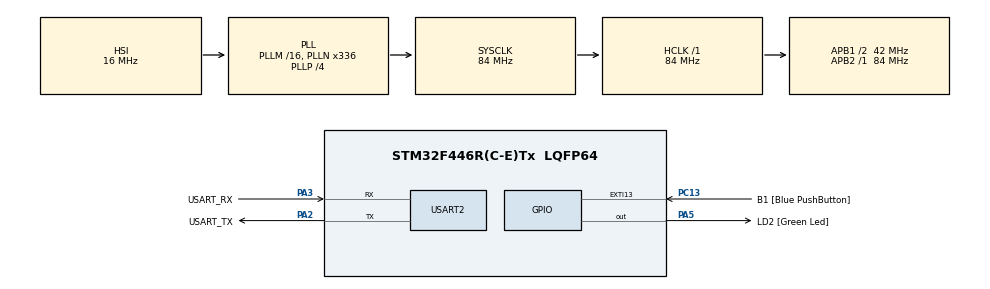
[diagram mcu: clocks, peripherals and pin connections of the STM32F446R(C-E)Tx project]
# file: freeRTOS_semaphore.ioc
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FREERTOS.BinarySemaphores01=BinSem,Dynamic,NULL
FREERTOS.INCLUDE_vTaskDelayUntil=1
FREERTOS.Tasks01=defaultTask,0,128,StartDefaultTask,Default,NULL,Dynamic,NULL,NULL;task2,1,128,task2_init,Default,NULL,Dynamic,NULL,NULL;task3,-1,128,task3_init,Default,NULL,Dynamic,NULL,NULL
Mcu.Family=STM32F4
Mcu.Name=STM32F446R(C-E)Tx
Mcu.Package=LQFP64
NVIC.PriorityGroup=NVIC_PRIORITYGROUP_4
NVIC.TIM1_UP_TIM10_IRQn=true\:15\:0\:false\:false\:true\:false\:false\:true\:true
NVIC.TimeBase=TIM1_UP_TIM10_IRQn
NVIC.TimeBaseIP=TIM1
PA13.GPIO_Label=TMS
PA13.Mode=Serial_Wire
PA13.Signal=SYS_JTMS-SWDIO
PA14.GPIO_Label=TCK
PA14.Mode=Serial_Wire
PA14.Signal=SYS_JTCK-SWCLK
PA2.GPIO_Label=USART_TX
PA2.Mode=Asynchronous
PA2.Signal=USART2_TX
PA3.GPIO_Label=USART_RX
PA3.Mode=Asynchronous
PA3.Signal=USART2_RX
PA5.GPIO_Label=LD2 [Green Led]
PA5.Signal=GPIO_Output
PB3.GPIO_Label=SWO
PB3.Signal=SYS_JTDO-SWO
PC13.GPIO_Label=B1 [Blue PushButton]
PC13.GPIO_ModeDefaultEXTI=GPIO_MODE_IT_FALLING
PC13.Signal=GPXTI13
PC14-OSC32_IN.Mode=LSE-External-Oscillator
PC14-OSC32_IN.Signal=RCC_OSC32_IN
PC15-OSC32_OUT.Mode=LSE-External-Oscillator
PC15-OSC32_OUT.Signal=RCC_OSC32_OUT
PH0-OSC_IN.Mode=HSE-External-Oscillator
PH0-OSC_IN.Signal=RCC_OSC_IN
PH1-OSC_OUT.Mode=HSE-External-Oscillator
PH1-OSC_OUT.Signal=RCC_OSC_OUT
ProjectManager.HeapSize=0x200
ProjectManager.StackSize=0x400
ProjectManager.TargetToolchain=STM32CubeIDE
RCC.48MHZClocksFreq_Value=84000000
RCC.AHBFreq_Value=84000000
RCC.APB1CLKDivider=RCC_HCLK_DIV2
RCC.APB1Freq_Value=42000000
RCC.APB1TimFreq_Value=84000000
RCC.APB2Freq_Value=84000000
RCC.APB2TimFreq_Value=84000000
RCC.CortexFreq_Value=84000000
RCC.FLatency-AdvancedSettings=FLASH_LATENCY_2
RCC.HCLKFreq_Value=84000000
RCC.HSE_VALUE=8000000
RCC.HSI_VALUE=16000000
RCC.PLLN=336
RCC.PLLP=RCC_PLLP_DIV4
RCC.SYSCLKFreq_VALUE=84000000
RCC.SYSCLKSource=RCC_SYSCLKSOURCE_PLLCLK
RCC.USBFreq_Value=168000000
RCC.VCOOutputFreq_Value=336000000
USART2.VirtualMode=VM_ASYNC
VP_FREERTOS_VS_CMSIS_V1.Mode=CMSIS_V1
VP_SYS_VS_tim1.Mode=TIM1
board=NUCLEO-F446RE

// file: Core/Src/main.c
/* USER CODE BEGIN Header */
/**
 ******************************************************************************
 * @file           : main.c
 * @brief          : Main program body
 ******************************************************************************
 * @attention
 *
 * Copyright (c) 2023 STMicroelectronics.
 * All rights reserved.
 *
 * This software is licensed under terms that can be found in the LICENSE file
 * in the root directory of this software component.
 * If no LICENSE file comes with this software, it is provided AS-IS.
 *
 ******************************************************************************
 */
/* USER CODE END Header */
#include "main.h"
#include "cmsis_os.h"

UART_HandleTypeDef huart2;

osThreadId defaultTaskHandle;
osThreadId task2Handle;
osThreadId task3Handle;
osSemaphoreId BinSemHandle;

void SystemClock_Config(void);
static void MX_GPIO_Init(void);
static void MX_USART2_UART_Init(void);
void StartDefaultTask(void const *argument);
void task2_init(void const *argument);
void task3_init(void const *argument);

int main(void) {

	/* MCU Configuration--------------------------------------------------------*/

	/* Reset of all peripherals, Initializes the Flash interface and the Systick. */
	HAL_Init();

	/* Configure the system clock */
	SystemClock_Config();

	/* Initialize all configured peripherals */
	MX_GPIO_Init();
	MX_USART2_UART_Init();

	/* Create the semaphores(s) */
	/* definition and creation of BinSem */
	osSemaphoreDef(BinSem);
	BinSemHandle = osSemaphoreCreate(osSemaphore(BinSem), 1);

	/* Create the thread(s) */
	/* definition and creation of defaultTask */
	osThreadDef(defaultTask, StartDefaultTask, osPriorityNormal, 0, 128);
	defaultTaskHandle = osThreadCreate(osThread(defaultTask), NULL);

	/* definition and creation of task2 */
	osThreadDef(task2, task2_init, osPriorityAboveNormal, 0, 128);
	task2Handle = osThreadCreate(osThread(task2), NULL);

	/* definition and creation of task3 */
	osThreadDef(task3, task3_init, osPriorityBelowNormal, 0, 128);
	task3Handle = osThreadCreate(osThread(task3), NULL);

	/* Start scheduler */
	osKernelStart();
	/* We should never get here as control is now taken by the scheduler */
	/* Infinite loop */
	while (1) {

	}
}

void SystemClock_Config(void) {
	RCC_OscInitTypeDef RCC_OscInitStruct = { 0 };
	RCC_ClkInitTypeDef RCC_ClkInitStruct = { 0 };

	/** Configure the main internal regulator output voltage
	 */
	__HAL_RCC_PWR_CLK_ENABLE();
	__HAL_PWR_VOLTAGESCALING_CONFIG(PWR_REGULATOR_VOLTAGE_SCALE3);

	/** Initializes the RCC Oscillators according to the specified parameters
	 * in the RCC_OscInitTypeDef structure.
	 */
	RCC_OscInitStruct.OscillatorType = RCC_OSCILLATORTYPE_HSI;
	RCC_OscInitStruct.HSIState = RCC_HSI_ON;
	RCC_OscInitStruct.HSICalibrationValue = RCC_HSICALIBRATION_DEFAULT;
	RCC_OscInitStruct.PLL.PLLState = RCC_PLL_ON;
	RCC_OscInitStruct.PLL.PLLSource = RCC_PLLSOURCE_HSI;
	RCC_OscInitStruct.PLL.PLLM = 16;
	RCC_OscInitStruct.PLL.PLLN = 336;
	RCC_OscInitStruct.PLL.PLLP = RCC_PLLP_DIV4;
	RCC_OscInitStruct.PLL.PLLQ = 2;
	RCC_OscInitStruct.PLL.PLLR = 2;
	if (HAL_RCC_OscConfig(&RCC_OscInitStruct) != HAL_OK) {
		Error_Handler();
	}

	/** Initializes the CPU, AHB and APB buses clocks
	 */
	RCC_ClkInitStruct.ClockType = RCC_CLOCKTYPE_HCLK | RCC_CLOCKTYPE_SYSCLK
			| RCC_CLOCKTYPE_PCLK1 | RCC_CLOCKTYPE_PCLK2;
	RCC_ClkInitStruct.SYSCLKSource = RCC_SYSCLKSOURCE_PLLCLK;
	RCC_ClkInitStruct.AHBCLKDivider = RCC_SYSCLK_DIV1;
	RCC_ClkInitStruct.APB1CLKDivider = RCC_HCLK_DIV2;
	RCC_ClkInitStruct.APB2CLKDivider = RCC_HCLK_DIV1;

	if (HAL_RCC_ClockConfig(&RCC_ClkInitStruct, FLASH_LATENCY_2) != HAL_OK) {
		Error_Handler();
	}
}

static void MX_USART2_UART_Init(void) {

	huart2.Instance = USART2;
	huart2.Init.BaudRate = 115200;
	huart2.Init.WordLength = UART_WORDLENGTH_8B;
	huart2.Init.StopBits = UART_STOPBITS_1;
	huart2.Init.Parity = UART_PARITY_NONE;
	huart2.Init.Mode = UART_MODE_TX_RX;
	huart2.Init.HwFlowCtl = UART_HWCONTROL_NONE;
	huart2.Init.OverSampling = UART_OVERSAMPLING_16;
	if (HAL_UART_Init(&huart2) != HAL_OK) {
		Error_Handler();
	}

}

static void MX_GPIO_Init(void) {
	GPIO_InitTypeDef GPIO_InitStruct = { 0 };

	/* GPIO Ports Clock Enable */
	__HAL_RCC_GPIOC_CLK_ENABLE();
	__HAL_RCC_GPIOH_CLK_ENABLE();
	__HAL_RCC_GPIOA_CLK_ENABLE();
	__HAL_RCC_GPIOB_CLK_ENABLE();

	/*Configure GPIO pin Output Level */
	HAL_GPIO_WritePin(LD2_GPIO_Port, LD2_Pin, GPIO_PIN_RESET);

	/*Configure GPIO pin : B1_Pin */
	GPIO_InitStruct.Pin = B1_Pin;
	GPIO_InitStruct.Mode = GPIO_MODE_IT_FALLING;
	GPIO_InitStruct.Pull = GPIO_NOPULL;
	HAL_GPIO_Init(B1_GPIO_Port, &GPIO_InitStruct);

	/*Configure GPIO pin : LD2_Pin */
	GPIO_InitStruct.Pin = LD2_Pin;
	GPIO_InitStruct.Mode = GPIO_MODE_OUTPUT_PP;
	GPIO_InitStruct.Pull = GPIO_NOPULL;
	GPIO_InitStruct.Speed = GPIO_SPEED_FREQ_LOW;
	HAL_GPIO_Init(LD2_GPIO_Port, &GPIO_InitStruct);

}

void StartDefaultTask(void const *argument) {
	/* USER CODE BEGIN 5 */
	/* Infinite loop */
	for (;;) {
		char *str1 = "Entered MediumTask";
		HAL_UART_Transmit(&huart2, (uint8_t*) str1, strlen(str1), 100);

		char *str2 = "Leaving MediumTask";
		HAL_UART_Transmit(&huart2, (uint8_t*) str2, strlen(str2), 100);
		osDelay(500);

	}
	/* USER CODE END 5 */
}

void task2_init(void const *argument) {
	/* USER CODE BEGIN task2_init */
	/* Infinite loop */
	for (;;) {
		char *str1 = "Entered HighTask and waiting for Semaphore";
		HAL_UART_Transmit(&huart2, (uint8_t*) str1, strlen(str1), 100);

		osSemaphoreWait(BinSemHandle, osWaitForever);

		char *str3 = "Semaphore acquired by HIGH Task";
		HAL_UART_Transmit(&huart2, (uint8_t*) str3, strlen(str3), 100);

		char *str2 = "Leaving HighTask and releasing Semaphore";
		HAL_UART_Transmit(&huart2, (uint8_t*) str2, strlen(str2), 100);

		osSemaphoreRelease(BinSemHandle);
		osDelay(500);
	}
	/* USER CODE END task2_init */
}

void task3_init(void const *argument) {
	/* USER CODE BEGIN task3_init */
	/* Infinite loop */
	for (;;) {
		char *str1 = "Entered LOWTask and waiting for semaphore";
		HAL_UART_Transmit(&huart2, (uint8_t*) str1, strlen(str1), 100);

		osSemaphoreWait(BinSemHandle, osWaitForever);
		char *str3 = "Semaphore acquired by LOW Task";
		HAL_UART_Transmit(&huart2, (uint8_t*) str3, strlen(str3), 100);

		while (HAL_GPIO_ReadPin(GPIOC, GPIO_PIN_13))
			;  // wait till the pin go low

		char *str2 = "Leaving LOWTask and releasing Semaphore";
		HAL_UART_Transmit(&huart2, (uint8_t*) str2, strlen(str2), 100);

		osSemaphoreRelease(BinSemHandle);
		osDelay(500);
	}
	/* USER CODE END task3_init */
}

void HAL_TIM_PeriodElapsedCallback(TIM_HandleTypeDef *htim) {
	if (htim->Instance == TIM1) {
		HAL_IncTick();
	}
}

void Error_Handler(void) {
	__disable_irq();
	while (1) {
	}
}
